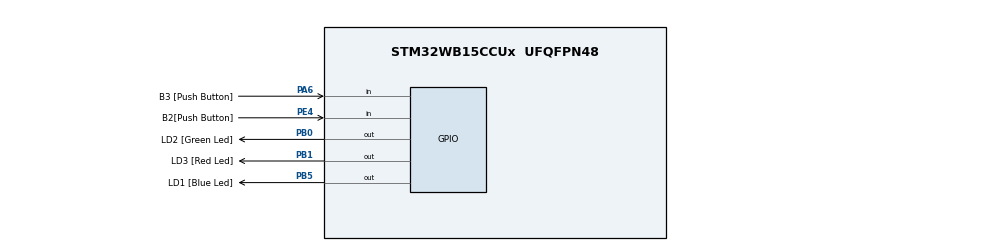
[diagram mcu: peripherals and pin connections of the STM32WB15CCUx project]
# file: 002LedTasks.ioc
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Mcu.Family=STM32WB
Mcu.Name=STM32WB15CCUx
Mcu.Package=UFQFPN48
NVIC.PriorityGroup=NVIC_PRIORITYGROUP_4
NVIC.TIM1_UP_IRQn=true\:15\:0\:false\:false\:true\:false\:true\:true
NVIC.TimeBase=TIM1_UP_IRQn
NVIC.TimeBaseIP=TIM1
OSC_IN.Mode=HSE-External-Oscillator
OSC_IN.Signal=RCC_OSC_IN
OSC_OUT.Mode=HSE-External-Oscillator
OSC_OUT.Signal=RCC_OSC_OUT
PA0.GPIO_Label=B1 [push Button]
PA0.Mode=SYS_WakeUp0
PA0.Signal=SYS_WKUP1
PA10.GPIO_Label=STLINK_TX
PA10.Signal=USART1_RX
PA13.GPIO_Label=JTMS
PA13.Signal=SYS_JTMS-SWDIO
PA14.GPIO_Label=JTCK
PA14.Signal=SYS_JTCK-SWCLK
PA6.GPIO_Label=B3 [Push Button]
PA6.Signal=GPIO_Input
PA9.GPIO_Label=STLINK_RX
PA9.Signal=USART1_TX
PB0.GPIO_Label=LD2 [Green Led]
PB0.Signal=GPIO_Output
PB1.GPIO_Label=LD3 [Red Led]
PB1.Signal=GPIO_Output
PB3.GPIO_Label=JTDO
PB3.Signal=SYS_JTDO-SWO
PB5.GPIO_Label=LD1 [Blue Led]
PB5.Signal=GPIO_Output
PC14-OSC32_IN.Mode=LSE-External-Oscillator
PC14-OSC32_IN.Signal=RCC_OSC32_IN
PC15-OSC32_OUT.Mode=LSE-External-Oscillator
PC15-OSC32_OUT.Signal=RCC_OSC32_OUT
PE4.GPIO_Label=B2[Push Button]
PE4.Signal=GPIO_Input
ProjectManager.HeapSize=0x200
ProjectManager.StackSize=0x400
ProjectManager.TargetToolchain=STM32CubeIDE
RCC.APB3Freq_Value=16000000
RCC.HSE_VALUE=32000000
RCC.HSI_VALUE=16000000
RCC.LSE_Drive_Capability=RCC_LSEDRIVE_LOW
RCC.VCOOutputFreq_Value=32000000
VP_SYS_VS_tim1.Mode=TIM1
board=NUCLEO-WB15CC

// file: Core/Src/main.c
/* USER CODE BEGIN Header */
/**
  ******************************************************************************
  * @file           : main.c
  * @brief          : Main program body
  ******************************************************************************
  * @attention
  *
  * Copyright (c) 2023 STMicroelectronics.
  * All rights reserved.
  *
  * This software is licensed under terms that can be found in the LICENSE file
  * in the root directory of this software component.
  * If no LICENSE file comes with this software, it is provided AS-IS.
  *
  ******************************************************************************
  */
/* USER CODE END Header */
#include "main.h"

/* USER CODE BEGIN Includes */
#include "FreeRTOS.h"
#include "task.h"
#include <stdio.h>

/* USER CODE END Includes */

/* USER CODE BEGIN PV */
#define DWT_CTRL (*(volatile uint32_t*)0xE0001000)

/* USER CODE END PV */

void SystemClock_Config(void);
void PeriphCommonClock_Config(void);
static void MX_GPIO_Init(void);
/* USER CODE BEGIN PFP */

static void GreenLedHandler(void* param);
static void BlueLedHandler(void* param);
static void RedLedHandler(void* param);
/* USER CODE END PFP */

int main(void)
{
  /* USER CODE BEGIN 1 */
	TaskHandle_t gLedHandle;
	TaskHandle_t bLedHandle;
	TaskHandle_t rLedHandle;

	BaseType_t status;

  /* USER CODE END 1 */

  /* MCU Configuration--------------------------------------------------------*/

  /* Reset of all peripherals, Initializes the Flash interface and the Systick. */
  HAL_Init();

  /* Configure the system clock */
  SystemClock_Config();

/* Configure the peripherals common clocks */
  PeriphCommonClock_Config();

  /* Initialize all configured peripherals */
  MX_GPIO_Init();
  /* USER CODE BEGIN 2 */

  // Enable the CYCCNT counter for Arm Cortex M3/M4 processor register

  DWT_CTRL |= (1 << 0);

  // Call Segger APIs to start tracing
 // SEGGER_SYSVIEW_Conf();
 // SEGGER_SYSVIEW_Start();

  status = xTaskCreate(GreenLedHandler,
		  "Green Led Handler",
		  200,
		  NULL,
		  2,
		  &gLedHandle);

  configASSERT(status == pdPASS);

  status = xTaskCreate(BlueLedHandler,
		  "Blue Led Handler",
		  200,
		  NULL,
		  2,
		  &bLedHandle);

  configASSERT(status == pdPASS);

  status = xTaskCreate(RedLedHandler,
		  "Red Led Handler",
		  200,
		  NULL,
		  2,
		  &rLedHandle);

  configASSERT(status == pdPASS);

  // Start the freeRTOS scheduler
  vTaskStartScheduler();

  // If the control comes here then the launch of the scheduler has failed
  // Due to insufficient memory on the heap.
  // -- END --
  /* USER CODE END 2 */

  /* Infinite loop */
  while (1)
  {

  }
}

void SystemClock_Config(void)
{
  RCC_OscInitTypeDef RCC_OscInitStruct = {0};
  RCC_ClkInitTypeDef RCC_ClkInitStruct = {0};

  /** Configure LSE Drive Capability
  */
  HAL_PWR_EnableBkUpAccess();
  __HAL_RCC_LSEDRIVE_CONFIG(RCC_LSEDRIVE_LOW);

  /** Initializes the RCC Oscillators according to the specified parameters
  * in the RCC_OscInitTypeDef structure.
  */
  RCC_OscInitStruct.OscillatorType = RCC_OSCILLATORTYPE_HSI|RCC_OSCILLATORTYPE_HSE
                              |RCC_OSCILLATORTYPE_LSE|RCC_OSCILLATORTYPE_MSI;
  RCC_OscInitStruct.HSEState = RCC_HSE_ON;
  RCC_OscInitStruct.LSEState = RCC_LSE_ON;
  RCC_OscInitStruct.HSIState = RCC_HSI_ON;
  RCC_OscInitStruct.MSIState = RCC_MSI_ON;
  RCC_OscInitStruct.HSICalibrationValue = RCC_HSICALIBRATION_DEFAULT;
  RCC_OscInitStruct.MSICalibrationValue = RCC_MSICALIBRATION_DEFAULT;
  RCC_OscInitStruct.MSIClockRange = RCC_MSIRANGE_6;
  RCC_OscInitStruct.PLL.PLLState = RCC_PLL_NONE;
  if (HAL_RCC_OscConfig(&RCC_OscInitStruct) != HAL_OK)
  {
    Error_Handler();
  }

  /** Configure the SYSCLKSource, HCLK, PCLK1 and PCLK2 clocks dividers
  */
  RCC_ClkInitStruct.ClockType = RCC_CLOCKTYPE_HCLK4|RCC_CLOCKTYPE_HCLK2
                              |RCC_CLOCKTYPE_HCLK|RCC_CLOCKTYPE_SYSCLK
                              |RCC_CLOCKTYPE_PCLK1|RCC_CLOCKTYPE_PCLK2;
  RCC_ClkInitStruct.SYSCLKSource = RCC_SYSCLKSOURCE_MSI;
  RCC_ClkInitStruct.AHBCLKDivider = RCC_SYSCLK_DIV1;
  RCC_ClkInitStruct.APB1CLKDivider = RCC_HCLK_DIV1;
  RCC_ClkInitStruct.APB2CLKDivider = RCC_HCLK_DIV1;
  RCC_ClkInitStruct.AHBCLK2Divider = RCC_SYSCLK_DIV1;
  RCC_ClkInitStruct.AHBCLK4Divider = RCC_SYSCLK_DIV1;

  if (HAL_RCC_ClockConfig(&RCC_ClkInitStruct, FLASH_LATENCY_0) != HAL_OK)
  {
    Error_Handler();
  }

  /** Enable MSI Auto calibration
  */
  HAL_RCCEx_EnableMSIPLLMode();
}

void PeriphCommonClock_Config(void)
{
  RCC_PeriphCLKInitTypeDef PeriphClkInitStruct = {0};

  /** Initializes the peripherals clock
  */
  PeriphClkInitStruct.PeriphClockSelection = RCC_PERIPHCLK_SMPS;
  PeriphClkInitStruct.SmpsClockSelection = RCC_SMPSCLKSOURCE_HSI;
  PeriphClkInitStruct.SmpsDivSelection = RCC_SMPSCLKDIV_RANGE1;

  if (HAL_RCCEx_PeriphCLKConfig(&PeriphClkInitStruct) != HAL_OK)
  {
    Error_Handler();
  }
}

static void MX_GPIO_Init(void)
{
  GPIO_InitTypeDef GPIO_InitStruct = {0};

  /* GPIO Ports Clock Enable */
  __HAL_RCC_GPIOC_CLK_ENABLE();
  __HAL_RCC_GPIOA_CLK_ENABLE();
  __HAL_RCC_GPIOB_CLK_ENABLE();
  __HAL_RCC_GPIOE_CLK_ENABLE();

  /*Configure GPIO pin Output Level */
  HAL_GPIO_WritePin(GPIOB, LD2_Pin|LD3_Pin|LD1_Pin, GPIO_PIN_RESET);

  /*Configure GPIO pin : B3_Pin */
  GPIO_InitStruct.Pin = B3_Pin;
  GPIO_InitStruct.Mode = GPIO_MODE_INPUT;
  GPIO_InitStruct.Pull = GPIO_NOPULL;
  HAL_GPIO_Init(B3_GPIO_Port, &GPIO_InitStruct);

  /*Configure GPIO pins : STLINK_RX_Pin STLINK_TX_Pin */
  GPIO_InitStruct.Pin = STLINK_RX_Pin|STLINK_TX_Pin;
  GPIO_InitStruct.Mode = GPIO_MODE_AF_PP;
  GPIO_InitStruct.Pull = GPIO_NOPULL;
  GPIO_InitStruct.Speed = GPIO_SPEED_FREQ_LOW;
  GPIO_InitStruct.Alternate = GPIO_AF7_USART1;
  HAL_GPIO_Init(GPIOA, &GPIO_InitStruct);

  /*Configure GPIO pins : LD2_Pin LD3_Pin LD1_Pin */
  GPIO_InitStruct.Pin = LD2_Pin|LD3_Pin|LD1_Pin;
  GPIO_InitStruct.Mode = GPIO_MODE_OUTPUT_PP;
  GPIO_InitStruct.Pull = GPIO_NOPULL;
  GPIO_InitStruct.Speed = GPIO_SPEED_FREQ_LOW;
  HAL_GPIO_Init(GPIOB, &GPIO_InitStruct);

  /*Configure GPIO pin : B2_Pin */
  GPIO_InitStruct.Pin = B2_Pin;
  GPIO_InitStruct.Mode = GPIO_MODE_INPUT;
  GPIO_InitStruct.Pull = GPIO_NOPULL;
  HAL_GPIO_Init(B2_GPIO_Port, &GPIO_InitStruct);

}

/* USER CODE BEGIN 4 */

static void BlueLedHandler(void* param)
{
	TickType_t xLastWakeTime;
	const TickType_t xFrequency = pdMS_TO_TICKS(1000);

	// One time initialization
	xLastWakeTime = xTaskGetTickCount();

	while(1)
	{
		//SEGGER_SYSVIEW_PrintfTarget("Toggling blue led");
		HAL_GPIO_TogglePin(GPIOB, BLUE_LED);
		//HAL_Delay(1000);
		//vTaskDelay(pdMS_TO_TICKS(1000));
		vTaskDelayUntil(&xLastWakeTime,xFrequency);
	}
}

static void GreenLedHandler(void* param)
{
	TickType_t xLastWakeTime;
	const TickType_t xFrequency = pdMS_TO_TICKS(800);

	// One time initialization
	xLastWakeTime = xTaskGetTickCount();

	while(1)
	{
		//SEGGER_SYSVIEW_PrintfTarget("Toggling green led");
		HAL_GPIO_TogglePin(GPIOB, GREEN_LED);
		//HAL_Delay(800);
		//vTaskDelay(pdMS_TO_TICKS(800));
		vTaskDelayUntil(&xLastWakeTime,xFrequency);
	}
}

static void RedLedHandler(void* param)
{
	TickType_t xLastWakeTime;
	const TickType_t xFrequency = pdMS_TO_TICKS(400);

	// One time initialization
	xLastWakeTime = xTaskGetTickCount();
	while(1)
	{
		//SEGGER_SYSVIEW_PrintfTarget("Toggling red led");
		HAL_GPIO_TogglePin(GPIOB, RED_LED);
		//HAL_Delay(400);
		//vTaskDelay(pdMS_TO_TICKS(400));
		vTaskDelayUntil(&xLastWakeTime,xFrequency);
	}
}

/* USER CODE END 4 */

void HAL_TIM_PeriodElapsedCallback(TIM_HandleTypeDef *htim)
{
  if (htim->Instance == TIM1) {
    HAL_IncTick();
  }
}

void Error_Handler(void)
{
  __disable_irq();
  while (1)
  {
  }
}
